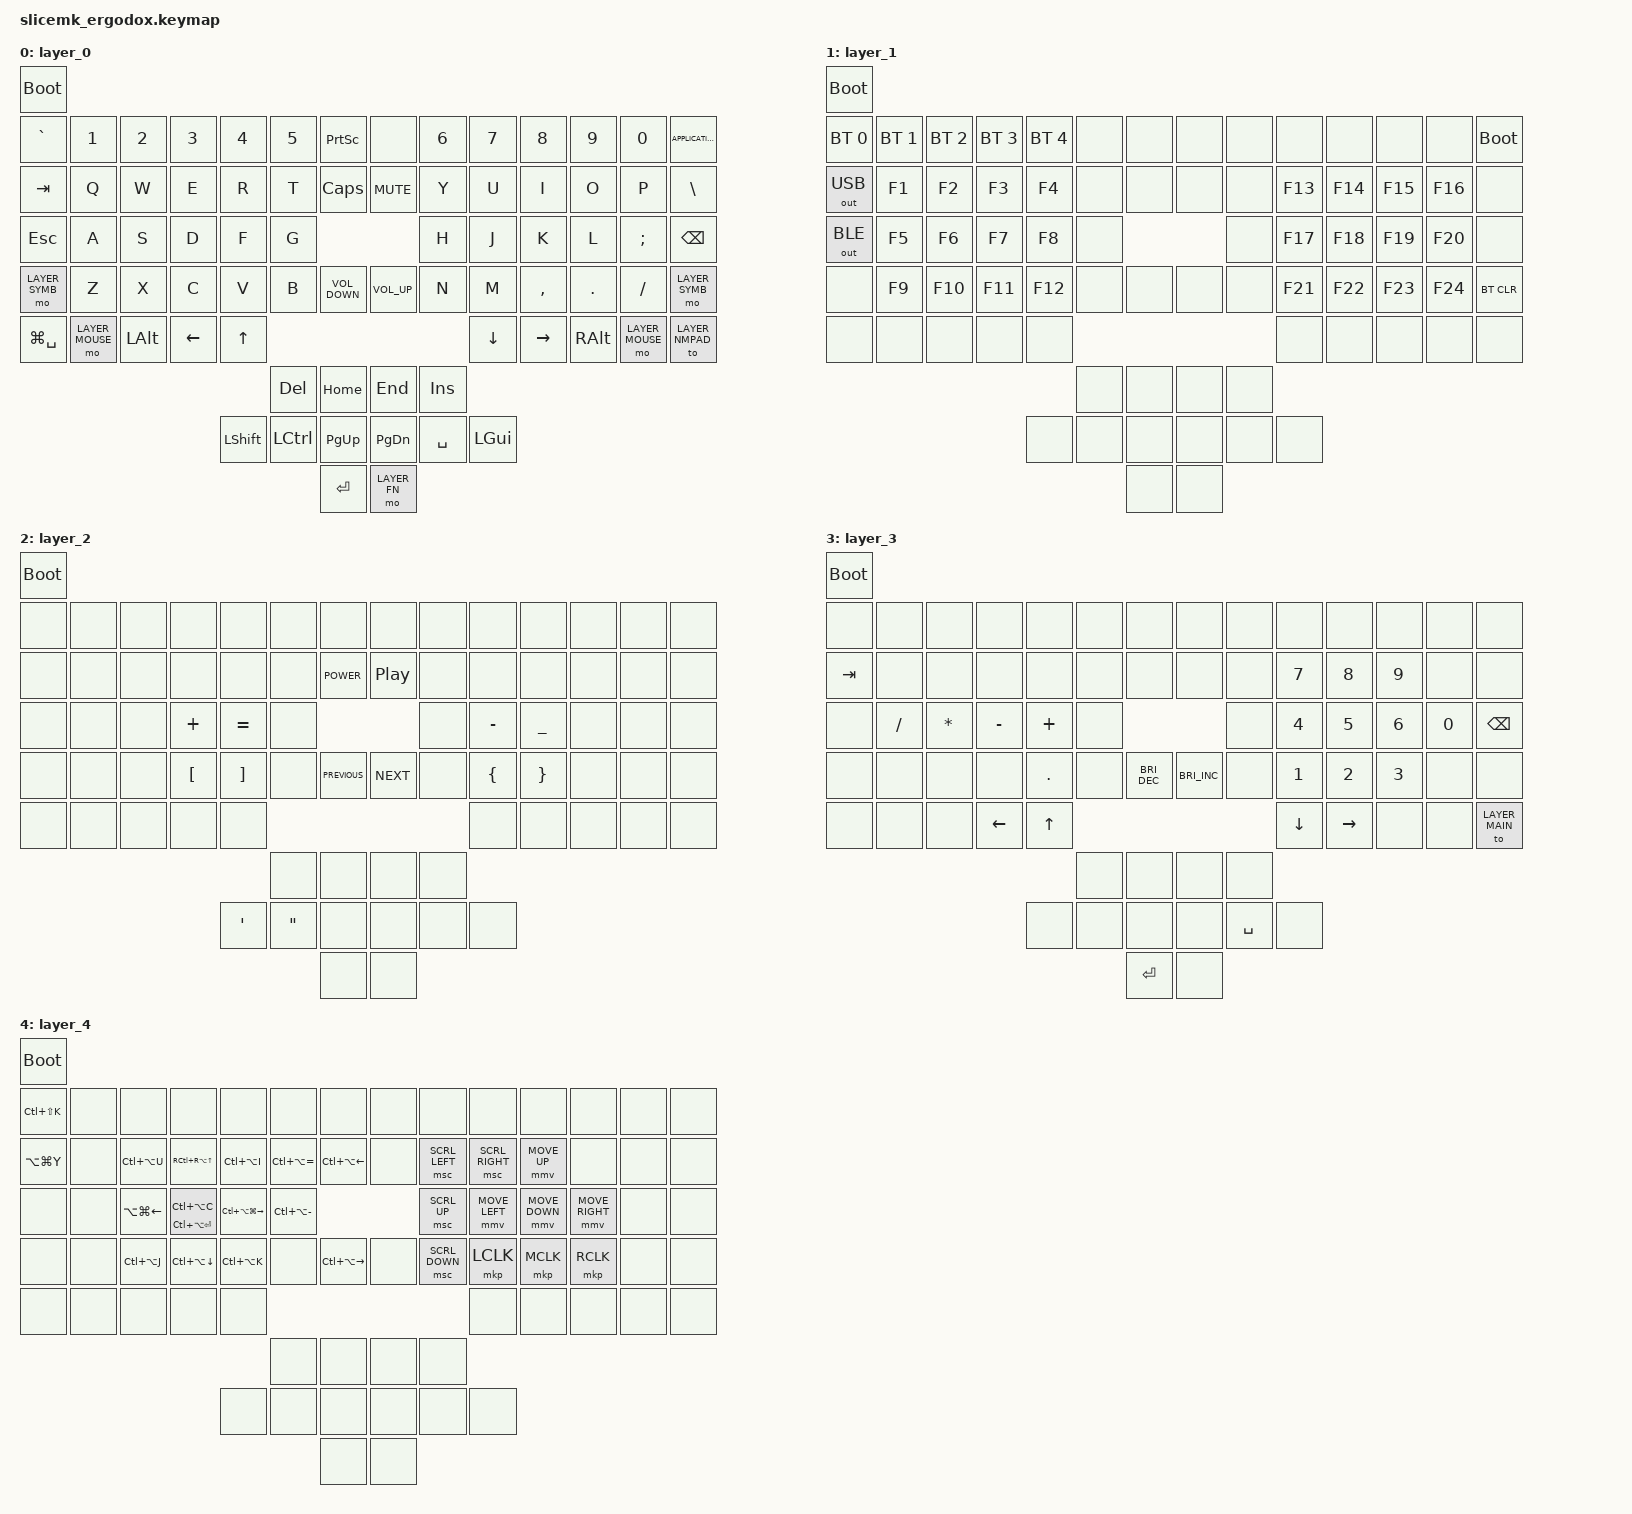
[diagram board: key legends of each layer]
#define LAYER_MAIN 0
#define LAYER_FN 1
#define LAYER_SYMB 2
#define LAYER_NMPAD 3
#define LAYER_MOUSE 4

#include <behaviors.dtsi>
#include <dt-bindings/zmk/bt.h>
#include <dt-bindings/zmk/keys.h>
#include <dt-bindings/zmk/mouse.h>
#include <dt-bindings/zmk/outputs.h>
#include <dt-bindings/zmk/rgb.h>

/ {
	keymap {
		compatible = "zmk,keymap";
		layer_0 {
			bindings = <
				&bootloader
				&kp GRAVE      &kp NUMBER_1    &kp NUMBER_2 &kp NUMBER_3   &kp NUMBER_4   &kp NUMBER_5     &kp PRINTSCREEN   &none           &kp NUMBER_6 &kp NUMBER_7   &kp NUMBER_8    &kp NUMBER_9  &kp NUMBER_0    &kp K_APPLICATION
				&kp TAB        &kp Q           &kp W        &kp E          &kp R          &kp T            &kp CAPSLOCK      &kp C_MUTE      &kp Y        &kp U          &kp I           &kp O         &kp P           &kp BACKSLASH
				&kp ESCAPE     &kp A           &kp S        &kp D          &kp F          &kp G                                              &kp H        &kp J          &kp K           &kp L         &kp SEMICOLON   &kp BACKSPACE
				&mo LAYER_SYMB &kp Z           &kp X        &kp C          &kp V          &kp B            &kp C_VOLUME_DOWN &kp C_VOLUME_UP &kp N        &kp M          &kp COMMA       &kp PERIOD    &kp SLASH       &mo LAYER_SYMB
				&kp LG(SPACE)  &mo LAYER_MOUSE &kp LEFT_ALT &kp LEFT_ARROW &kp UP_ARROW                                                                   &kp DOWN_ARROW &kp RIGHT_ARROW &kp RIGHT_ALT &mo LAYER_MOUSE &to LAYER_NMPAD
				                                                                          &kp DELETE       &kp HOME          &kp END         &kp INSERT
				                                                           &kp LEFT_SHIFT &kp LEFT_CONTROL &kp PAGE_UP       &kp PAGE_DOWN   &kp SPACE    &kp LEFT_GUI
				                                                                                           &kp RETURN        &mo LAYER_FN
			>;
		};
		layer_1 {
			bindings = <
				&bootloader
				&bt BT_SEL 0 &bt BT_SEL 1 &bt BT_SEL 2 &bt BT_SEL 3 &bt BT_SEL 4 &none &none &none &none &none   &none   &none   &none   &bootloader
				&out OUT_USB &kp F1       &kp F2       &kp F3       &kp F4       &none &none &none &none &kp F13 &kp F14 &kp F15 &kp F16 &none
				&out OUT_BLE &kp F5       &kp F6       &kp F7       &kp F8       &none             &none &kp F17 &kp F18 &kp F19 &kp F20 &none
				&none        &kp F9       &kp F10      &kp F11      &kp F12      &none &none &none &none &kp F21 &kp F22 &kp F23 &kp F24 &bt BT_CLR
				&none        &none        &none        &none        &none                                &none   &none   &none   &none   &none
				                                                                 &none &none &none &none
				                                                    &none        &none &none &none &none &none
				                                                                       &none &none
			>;
		};
		layer_2 {
			bindings = <
				&bootloader
				&none &none &none &none            &none             &none             &none          &none            &none &none          &none           &none &none &none
				&none &none &none &none            &none             &none             &kp C_POWER    &kp C_PLAY_PAUSE &none &none          &none           &none &none &none
				&none &none &none &kp PLUS         &kp EQUAL         &none                                             &none &kp MINUS      &kp UNDERSCORE  &none &none &none
				&none &none &none &kp LEFT_BRACKET &kp RIGHT_BRACKET &none             &kp C_PREVIOUS &kp C_NEXT       &none &kp LEFT_BRACE &kp RIGHT_BRACE &none &none &none
				&none &none &none &none            &none                                                                     &none          &none           &none &none &none
				                                                     &none             &none          &none            &none
				                                   &kp SINGLE_QUOTE  &kp DOUBLE_QUOTES &none          &none            &none &none
				                                                                       &none          &none
			>;
		};
		layer_3 {
			bindings = <
				&bootloader
				&none   &none     &none        &none          &none        &none &none                &none                &none     &none          &none           &none        &none        &none
				&kp TAB &none     &none        &none          &none        &none &none                &none                &none     &kp NUMBER_7   &kp NUMBER_8    &kp NUMBER_9 &none        &none
				&none   &kp SLASH &kp ASTERISK &kp MINUS      &kp PLUS     &none                                           &none     &kp NUMBER_4   &kp NUMBER_5    &kp NUMBER_6 &kp NUMBER_0 &kp BACKSPACE
				&none   &none     &none        &none          &kp PERIOD   &none &kp C_BRIGHTNESS_DEC &kp C_BRIGHTNESS_INC &none     &kp NUMBER_1   &kp NUMBER_2    &kp NUMBER_3 &none        &none
				&none   &none     &none        &kp LEFT_ARROW &kp UP_ARROW                                                           &kp DOWN_ARROW &kp RIGHT_ARROW &none        &none        &to LAYER_MAIN
				                                                           &none &none                &none                &none
				                                              &none        &none &none                &none                &kp SPACE &none
				                                                                 &kp RETURN           &none
			>;
		};
		layer_4 {
			bindings = <
				&bootloader
				&kp LC(LS(K)) &none &none                  &none                        &none                       &none             &none                   &none &none          &none           &none          &none           &none &none
				&kp LA(LG(Y)) &none &kp LC(LA(U))          &kp RC(RA(UP_ARROW))         &kp LC(LA(I))               &kp LC(LA(EQUAL)) &kp LC(LA(LEFT_ARROW))  &none &msc SCRL_LEFT &msc SCRL_RIGHT &mmv MOVE_UP   &none           &none &none
				&none         &none &kp LA(LG(LEFT_ARROW)) &mt LC(LA(RETURN)) LC(LA(C)) &kp LC(LA(LG(RIGHT_ARROW))) &kp LC(LA(MINUS))                               &msc SCRL_UP   &mmv MOVE_LEFT  &mmv MOVE_DOWN &mmv MOVE_RIGHT &none &none
				&none         &none &kp LC(LA(J))          &kp LC(LA(DOWN_ARROW))       &kp LC(LA(K))               &none             &kp LC(LA(RIGHT_ARROW)) &none &msc SCRL_DOWN &mkp LCLK       &mkp MCLK      &mkp RCLK       &none &none
				&none         &none &none                  &none                        &none                                                                                      &none           &none          &none           &none &none
				                                                                                                    &none             &none                   &none &none
				                                                                        &none                       &none             &none                   &none &none          &none
				                                                                                                                      &none                   &none
			>;
		};
	};
};
